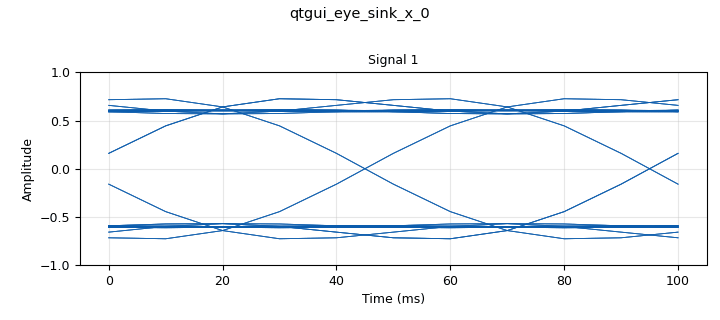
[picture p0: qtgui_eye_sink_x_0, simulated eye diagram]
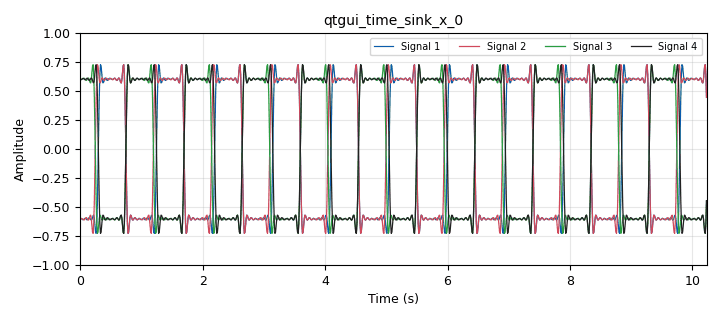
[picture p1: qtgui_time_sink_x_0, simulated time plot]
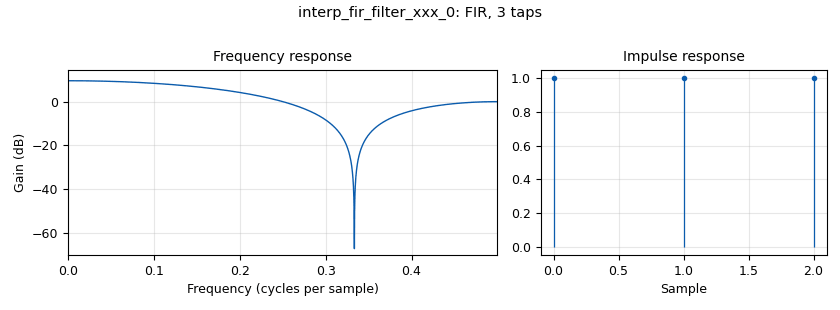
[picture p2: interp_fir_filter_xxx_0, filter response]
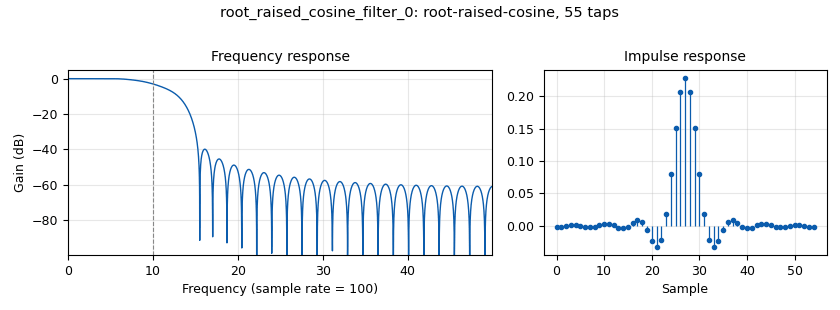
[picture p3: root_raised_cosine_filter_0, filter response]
options:
  parameters:
    author: rohan
    generate_options: qt_gui
    id: task2
    output_language: python
    title: Not titled yet
  states: {}

blocks:
- name: samp_rate
  id: variable
  parameters:
    value: symb_rate*sps
  states: {}
- name: sps
  id: variable
  parameters:
    value: '5'
  states: {}
- name: symb_rate
  id: variable
  parameters:
    value: '20'
  states: {}
- name: blocks_vector_source_x_0
  id: blocks_vector_source_x
  parameters:
    repeat: 'True'
    type: float
    vector: (-1,-1,-1,-1,-1,-1,-1,-1,-1,-1,1,1,1,1,1,1,1,1,1)
  states: {}
- name: blocks_vector_source_x_0_0
  id: blocks_vector_source_x
  parameters:
    repeat: 'True'
    type: float
    vector: (-1,-1,-1,-1,-1,-1,-1,-1,-1,1,1,1,1,1,1,1,1,1,1)
  states: {}
- name: blocks_vector_source_x_0_0_0
  id: blocks_vector_source_x
  parameters:
    repeat: 'True'
    type: float
    vector: (1,1,1,1,1,1,1,1,1,-1,-1,-1,-1,-1,-1,-1,-1,-1,-1)
  states: {}
- name: blocks_vector_source_x_0_0_0_0
  id: blocks_vector_source_x
  parameters:
    repeat: 'True'
    type: float
    vector: (1,1,1,1,1,1,1,1,1,1,-1,-1,-1,-1,-1,-1,-1,-1,-1)
  states: {}
- name: interp_fir_filter_xxx_0
  id: interp_fir_filter_xxx
  parameters:
    interp: sps
    taps: '[1,1,1]'
    type: fff
  states: {}
- name: interp_fir_filter_xxx_0_0
  id: interp_fir_filter_xxx
  parameters:
    interp: sps
    taps: '[1,1,1]'
    type: fff
  states: {}
- name: interp_fir_filter_xxx_0_1
  id: interp_fir_filter_xxx
  parameters:
    interp: sps
    taps: '[1,1,1]'
    type: fff
  states: {}
- name: interp_fir_filter_xxx_0_2
  id: interp_fir_filter_xxx
  parameters:
    interp: sps
    taps: '[1,1,1]'
    type: fff
  states: {}
- name: qtgui_eye_sink_x_0
  id: qtgui_eye_sink_x
  parameters:
    samp_per_symbol: sps
    size: '1024'
    srate: samp_rate
    type: float
    yunit: '"Inbuilt Eye Sink"'
  states: {}
- name: qtgui_time_sink_x_0
  id: qtgui_time_sink_x
  parameters:
    nconnections: '4'
    size: '1024'
    srate: samp_rate
    type: float
  states: {}
- name: root_raised_cosine_filter_0
  id: root_raised_cosine_filter
  parameters:
    alpha: '0.5'
    gain: '1'
    interp: '1'
    ntaps: 11*sps
    samp_rate: samp_rate
    sym_rate: symb_rate
    type: interp_fir_filter_fff
  states: {}
- name: root_raised_cosine_filter_0_0
  id: root_raised_cosine_filter
  parameters:
    alpha: '0.5'
    gain: '1'
    interp: '1'
    ntaps: 11*sps
    samp_rate: samp_rate
    sym_rate: symb_rate
    type: interp_fir_filter_fff
  states: {}
- name: root_raised_cosine_filter_0_1
  id: root_raised_cosine_filter
  parameters:
    alpha: '0.5'
    gain: '1'
    interp: '1'
    ntaps: 11*sps
    samp_rate: samp_rate
    sym_rate: symb_rate
    type: interp_fir_filter_fff
  states: {}
- name: root_raised_cosine_filter_0_2
  id: root_raised_cosine_filter
  parameters:
    alpha: '0.5'
    gain: '1'
    interp: '1'
    ntaps: 11*sps
    samp_rate: samp_rate
    sym_rate: symb_rate
    type: interp_fir_filter_fff
  states: {}

connections:
- [blocks_vector_source_x_0, '0', interp_fir_filter_xxx_0, '0']
- [blocks_vector_source_x_0_0, '0', interp_fir_filter_xxx_0_0, '0']
- [blocks_vector_source_x_0_0_0, '0', interp_fir_filter_xxx_0_1, '0']
- [blocks_vector_source_x_0_0_0_0, '0', interp_fir_filter_xxx_0_2, '0']
- [interp_fir_filter_xxx_0, '0', root_raised_cosine_filter_0, '0']
- [interp_fir_filter_xxx_0_0, '0', root_raised_cosine_filter_0_0, '0']
- [interp_fir_filter_xxx_0_1, '0', root_raised_cosine_filter_0_1, '0']
- [interp_fir_filter_xxx_0_2, '0', root_raised_cosine_filter_0_2, '0']
- [root_raised_cosine_filter_0, '0', qtgui_eye_sink_x_0, '0']
- [root_raised_cosine_filter_0, '0', qtgui_time_sink_x_0, '0']
- [root_raised_cosine_filter_0_0, '0', qtgui_time_sink_x_0, '1']
- [root_raised_cosine_filter_0_1, '0', qtgui_time_sink_x_0, '2']
- [root_raised_cosine_filter_0_2, '0', qtgui_time_sink_x_0, '3']

metadata:
  file_format: 1
